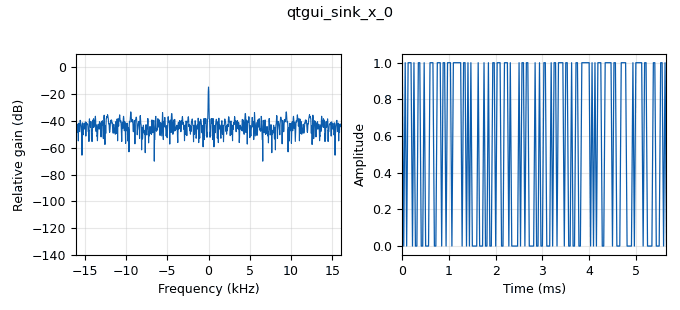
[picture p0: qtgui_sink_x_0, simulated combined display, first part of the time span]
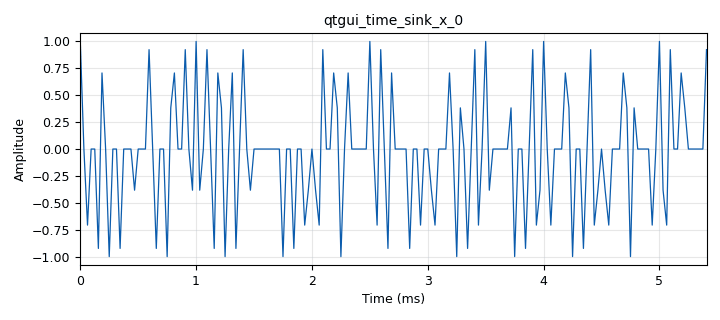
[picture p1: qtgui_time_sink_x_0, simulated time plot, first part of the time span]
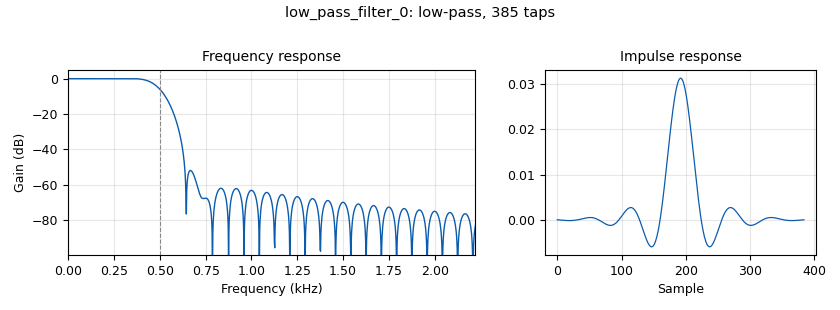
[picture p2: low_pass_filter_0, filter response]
options:
  parameters:
    generate_options: qt_gui
    id: ask_propio
    output_language: python
    title: Not titled yet
  states: {}

blocks:
- name: samp_rate
  id: variable
  parameters:
    value: '32000'
  states: {}
- name: analog_random_source_x_0
  id: analog_random_source_x
  parameters:
    max: '2'
    min: '0'
    num_samps: '1000'
    repeat: 'True'
    type: byte
  states: {}
- name: analog_sig_source_x_0
  id: analog_sig_source_x
  parameters:
    amp: '1'
    freq: 10e3
    offset: '0'
    phase: '0'
    samp_rate: samp_rate
    type: float
    waveform: analog.GR_COS_WAVE
  states: {}
- name: blocks_char_to_float_0
  id: blocks_char_to_float
  parameters:
    scale: '1'
  states: {}
- name: blocks_char_to_float_1
  id: blocks_char_to_float
  parameters:
    scale: '1'
  states: {}
- name: blocks_float_to_char_0
  id: blocks_float_to_char
  parameters:
    scale: '1'
  states: {}
- name: blocks_multiply_xx_0
  id: blocks_multiply_xx
  parameters:
    type: float
  states: {}
- name: blocks_multiply_xx_1
  id: blocks_multiply_xx
  parameters:
    type: float
  states: {}
- name: blocks_threshold_ff_0
  id: blocks_threshold_ff
  parameters:
    high: '0.5'
    init: '0'
    low: '0.5'
  states: {}
- name: blocks_throttle2_0
  id: blocks_throttle2
  parameters:
    samples_per_second: samp_rate
    type: float
  states: {}
- name: blocks_xor_xx_0
  id: blocks_xor_xx
  parameters:
    type: byte
  states: {}
- name: low_pass_filter_0
  id: low_pass_filter
  parameters:
    cutoff_freq: '500'
    decim: '1'
    gain: '1'
    samp_rate: samp_rate
    type: fir_filter_fff
    width: '200'
    win: window.WIN_HAMMING
  states: {}
- name: qtgui_sink_x_0
  id: qtgui_sink_x
  parameters:
    bw: samp_rate
    fc: '0'
    fftsize: '1024'
    type: float
  states: {}
- name: qtgui_time_sink_x_0
  id: qtgui_time_sink_x
  parameters:
    size: '1024'
    srate: samp_rate
    type: float
  states: {}

connections:
- [analog_random_source_x_0, '0', blocks_char_to_float_0, '0']
- [analog_random_source_x_0, '0', blocks_xor_xx_0, '0']
- [analog_sig_source_x_0, '0', blocks_multiply_xx_0, '1']
- [analog_sig_source_x_0, '0', blocks_multiply_xx_1, '1']
- [blocks_char_to_float_0, '0', blocks_multiply_xx_0, '0']
- [blocks_char_to_float_1, '0', qtgui_sink_x_0, '0']
- [blocks_float_to_char_0, '0', blocks_xor_xx_0, '1']
- [blocks_multiply_xx_0, '0', blocks_throttle2_0, '0']
- [blocks_multiply_xx_1, '0', low_pass_filter_0, '0']
- [blocks_threshold_ff_0, '0', blocks_float_to_char_0, '0']
- [blocks_throttle2_0, '0', blocks_multiply_xx_1, '0']
- [blocks_throttle2_0, '0', qtgui_time_sink_x_0, '0']
- [blocks_xor_xx_0, '0', blocks_char_to_float_1, '0']
- [low_pass_filter_0, '0', blocks_threshold_ff_0, '0']

metadata:
  file_format: 1
  grc_version: 3.10.10.0
